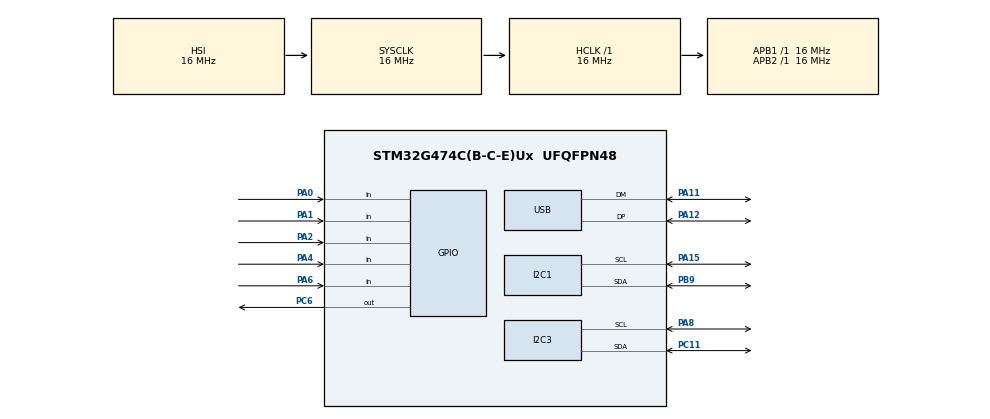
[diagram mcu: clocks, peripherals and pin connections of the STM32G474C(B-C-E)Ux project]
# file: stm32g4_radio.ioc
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I2C1.Timing=0x00503D58
I2C3.Timing=0x00503D58
Mcu.Family=STM32G4
Mcu.Name=STM32G474C(B-C-E)Ux
Mcu.Package=UFQFPN48
NVIC.I2C1_ER_IRQn=true\:0\:0\:false\:false\:true\:true\:true\:true
NVIC.I2C1_EV_IRQn=true\:0\:0\:false\:false\:true\:true\:true\:true
NVIC.I2C3_ER_IRQn=true\:0\:0\:false\:false\:true\:true\:true\:true
NVIC.I2C3_EV_IRQn=true\:0\:0\:false\:false\:true\:true\:true\:true
NVIC.PriorityGroup=NVIC_PRIORITYGROUP_4
NVIC.USB_LP_IRQn=true\:0\:0\:false\:false\:true\:false\:true\:true
PA0.GPIO_PuPd=GPIO_PULLUP
PA0.Signal=GPIO_Input
PA1.GPIO_PuPd=GPIO_PULLUP
PA1.Signal=GPIO_Input
PA11.Mode=Device
PA11.Signal=USB_DM
PA12.Mode=Device
PA12.Signal=USB_DP
PA15.GPIO_Pu=GPIO_PULLUP
PA15.GPIO_Speed=GPIO_SPEED_FREQ_VERY_HIGH
PA15.Mode=I2C
PA15.Signal=I2C1_SCL
PA2.GPIO_PuPd=GPIO_PULLUP
PA2.Signal=GPIO_Input
PA4.GPIO_PuPd=GPIO_PULLUP
PA4.Signal=GPIO_Input
PA6.GPIO_PuPd=GPIO_PULLUP
PA6.Signal=GPIO_Input
PA8.GPIO_Pu=GPIO_PULLUP
PA8.GPIO_Speed=GPIO_SPEED_FREQ_VERY_HIGH
PA8.Mode=I2C
PA8.Signal=I2C3_SCL
PB9.GPIO_Pu=GPIO_PULLUP
PB9.GPIO_Speed=GPIO_SPEED_FREQ_VERY_HIGH
PB9.Mode=I2C
PB9.Signal=I2C1_SDA
PC11.GPIO_Pu=GPIO_PULLUP
PC11.GPIO_Speed=GPIO_SPEED_FREQ_VERY_HIGH
PC11.Mode=I2C
PC11.Signal=I2C3_SDA
PC6.Signal=GPIO_Output
ProjectManager.HeapSize=0x200
ProjectManager.StackSize=0x400
ProjectManager.TargetToolchain=CMake
RCC.AHBFreq_Value=16000000
RCC.APB1Freq_Value=16000000
RCC.APB1TimFreq_Value=16000000
RCC.APB2Freq_Value=16000000
RCC.APB2TimFreq_Value=16000000
RCC.CortexFreq_Value=16000000
RCC.EXTERNAL_CLOCK_VALUE=12288000
RCC.HCLKFreq_Value=16000000
RCC.HSE_VALUE=8000000
RCC.HSI48_VALUE=48000000
RCC.HSI_VALUE=16000000
RCC.LSE_VALUE=32768
RCC.PLLN=12
RCC.PLLQ=RCC_PLLQ_DIV4
RCC.SYSCLKFreq_VALUE=16000000
RCC.USBFreq_Value=48000000
RCC.VCOOutputFreq_Value=192000000
USB_DEVICE.CLASS_NAME_FS=CDC
USB_DEVICE.VirtualMode=Cdc
USB_DEVICE.VirtualModeFS=Cdc_FS
VP_SYS_VS_DBSignals.Mode=DisableDeadBatterySignals
VP_USB_DEVICE_VS_USB_DEVICE_CDC_FS.Mode=CDC_FS
board=custom

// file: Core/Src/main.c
/* USER CODE BEGIN Header */
/**
  ******************************************************************************
  * @file           : main.c
  * @brief          : Main program body
  ******************************************************************************
  * @attention
  *
  * Copyright (c) 2026 STMicroelectronics.
  * All rights reserved.
  *
  * This software is licensed under terms that can be found in the LICENSE file
  * in the root directory of this software component.
  * If no LICENSE file comes with this software, it is provided AS-IS.
  *
  ******************************************************************************
  */
/* USER CODE END Header */
#include "main.h"
#include "stm32g474xx.h"
#include "stm32g4xx_hal.h"
#include "usb_device.h"
#include "usbd_cdc_if.h"
#include <math.h>
#include <stdint.h>
#include <stdlib.h>
#include <sys/_intsup.h>
#include "tm1650_display.h"
#include "flash_ops.h"
#include "rda5807.h"

/* USER CODE BEGIN PD */
#define BTN1 !HAL_GPIO_ReadPin(GPIOA, GPIO_PIN_0)
#define BTN2 !HAL_GPIO_ReadPin(GPIOA, GPIO_PIN_2)
#define BTN3 !HAL_GPIO_ReadPin(GPIOA, GPIO_PIN_4)
#define BTN4 !HAL_GPIO_ReadPin(GPIOA, GPIO_PIN_6)
#define BTN5 !HAL_GPIO_ReadPin(GPIOA, GPIO_PIN_1)
#define DATA_ADDRESS 0x0807F800

/* USER CODE END PD */

I2C_HandleTypeDef hi2c1;
I2C_HandleTypeDef hi2c3;

void SystemClock_Config(void);
static void MX_GPIO_Init(void);
static void MX_I2C1_Init(void);
static void MX_I2C3_Init(void);

int main(void)
{

  /* MCU Configuration--------------------------------------------------------*/

  /* Reset of all peripherals, Initializes the Flash interface and the Systick. */
  HAL_Init();

  /* USER CODE BEGIN Init */
  HAL_Delay(500);  // Without this MCU does not restart after power cycle.
  /* USER CODE END Init */

  /* Configure the system clock */
  SystemClock_Config();

  /* Initialize all configured peripherals */
  MX_GPIO_Init();
  MX_I2C1_Init();
  MX_I2C3_Init();
  MX_USB_Device_Init();

  /* Infinite loop */
  /* USER CODE BEGIN WHILE */

  display_i2s_cfg(&hi2c1);
  set_display(1, 1);
  display_clear_all();
  float_t frequency = 80.0;
  uint8_t btn_press_counter=0;
  uint8_t seek_speed = 100;

  frequency = Get_stored_float(DATA_ADDRESS);
  display_number(frequency);

  while (1)
  {

    if(BTN1) {

      if (btn_press_counter++ ==5) {
        Flash_Write_Data(DATA_ADDRESS, (uint64_t*)&frequency);
        uint8_t brignhtness = 1;
        for (uint8_t i=0;i<4;i++){
          brignhtness = !brignhtness;
          set_display(brignhtness, 1);
          HAL_Delay(200);
        }
        //set_display(1, 1);
      }

      HAL_Delay(300);
    }

    else if (BTN3) {
      if (frequency<108.0) {
        frequency+=0.1;
        display_number(frequency);
      }
      if (btn_press_counter++ >5) seek_speed = 25;
      else seek_speed=100;
      HAL_Delay(seek_speed);

    }
    else if (BTN2) {
      if (frequency>80.0) {
        frequency-=0.1;
        display_number(frequency);
      }
      if (btn_press_counter++ >5) seek_speed = 25;
      else  seek_speed=100;
      HAL_Delay(seek_speed);
    }
    else btn_press_counter=0;

    /* USER CODE END WHILE */

  }
}

void SystemClock_Config(void)
{
  RCC_OscInitTypeDef RCC_OscInitStruct = {0};
  RCC_ClkInitTypeDef RCC_ClkInitStruct = {0};

  /** Configure the main internal regulator output voltage
  */
  HAL_PWREx_ControlVoltageScaling(PWR_REGULATOR_VOLTAGE_SCALE1);

  /** Initializes the RCC Oscillators according to the specified parameters
  * in the RCC_OscInitTypeDef structure.
  */
  RCC_OscInitStruct.OscillatorType = RCC_OSCILLATORTYPE_HSI;
  RCC_OscInitStruct.HSIState = RCC_HSI_ON;
  RCC_OscInitStruct.HSICalibrationValue = RCC_HSICALIBRATION_DEFAULT;
  RCC_OscInitStruct.PLL.PLLState = RCC_PLL_ON;
  RCC_OscInitStruct.PLL.PLLSource = RCC_PLLSOURCE_HSI;
  RCC_OscInitStruct.PLL.PLLM = RCC_PLLM_DIV1;
  RCC_OscInitStruct.PLL.PLLN = 12;
  RCC_OscInitStruct.PLL.PLLP = RCC_PLLP_DIV2;
  RCC_OscInitStruct.PLL.PLLQ = RCC_PLLQ_DIV4;
  RCC_OscInitStruct.PLL.PLLR = RCC_PLLR_DIV2;
  if (HAL_RCC_OscConfig(&RCC_OscInitStruct) != HAL_OK)
  {
    Error_Handler();
  }

  /** Initializes the CPU, AHB and APB buses clocks
  */
  RCC_ClkInitStruct.ClockType = RCC_CLOCKTYPE_HCLK|RCC_CLOCKTYPE_SYSCLK
                              |RCC_CLOCKTYPE_PCLK1|RCC_CLOCKTYPE_PCLK2;
  RCC_ClkInitStruct.SYSCLKSource = RCC_SYSCLKSOURCE_HSI;
  RCC_ClkInitStruct.AHBCLKDivider = RCC_SYSCLK_DIV1;
  RCC_ClkInitStruct.APB1CLKDivider = RCC_HCLK_DIV1;
  RCC_ClkInitStruct.APB2CLKDivider = RCC_HCLK_DIV1;

  if (HAL_RCC_ClockConfig(&RCC_ClkInitStruct, FLASH_LATENCY_0) != HAL_OK)
  {
    Error_Handler();
  }
}

static void MX_I2C1_Init(void)
{

  hi2c1.Instance = I2C1;
  hi2c1.Init.Timing = 0x00503D58;
  hi2c1.Init.OwnAddress1 = 0;
  hi2c1.Init.AddressingMode = I2C_ADDRESSINGMODE_7BIT;
  hi2c1.Init.DualAddressMode = I2C_DUALADDRESS_DISABLE;
  hi2c1.Init.OwnAddress2 = 0;
  hi2c1.Init.OwnAddress2Masks = I2C_OA2_NOMASK;
  hi2c1.Init.GeneralCallMode = I2C_GENERALCALL_DISABLE;
  hi2c1.Init.NoStretchMode = I2C_NOSTRETCH_DISABLE;
  if (HAL_I2C_Init(&hi2c1) != HAL_OK)
  {
    Error_Handler();
  }

  /** Configure Analogue filter
  */
  if (HAL_I2CEx_ConfigAnalogFilter(&hi2c1, I2C_ANALOGFILTER_ENABLE) != HAL_OK)
  {
    Error_Handler();
  }

  /** Configure Digital filter
  */
  if (HAL_I2CEx_ConfigDigitalFilter(&hi2c1, 0) != HAL_OK)
  {
    Error_Handler();
  }

}

static void MX_I2C3_Init(void)
{

  hi2c3.Instance = I2C3;
  hi2c3.Init.Timing = 0x00503D58;
  hi2c3.Init.OwnAddress1 = 0;
  hi2c3.Init.AddressingMode = I2C_ADDRESSINGMODE_7BIT;
  hi2c3.Init.DualAddressMode = I2C_DUALADDRESS_DISABLE;
  hi2c3.Init.OwnAddress2 = 0;
  hi2c3.Init.OwnAddress2Masks = I2C_OA2_NOMASK;
  hi2c3.Init.GeneralCallMode = I2C_GENERALCALL_DISABLE;
  hi2c3.Init.NoStretchMode = I2C_NOSTRETCH_DISABLE;
  if (HAL_I2C_Init(&hi2c3) != HAL_OK)
  {
    Error_Handler();
  }

  /** Configure Analogue filter
  */
  if (HAL_I2CEx_ConfigAnalogFilter(&hi2c3, I2C_ANALOGFILTER_ENABLE) != HAL_OK)
  {
    Error_Handler();
  }

  /** Configure Digital filter
  */
  if (HAL_I2CEx_ConfigDigitalFilter(&hi2c3, 0) != HAL_OK)
  {
    Error_Handler();
  }

}

static void MX_GPIO_Init(void)
{
  GPIO_InitTypeDef GPIO_InitStruct = {0};

  /* GPIO Ports Clock Enable */
  __HAL_RCC_GPIOA_CLK_ENABLE();
  __HAL_RCC_GPIOC_CLK_ENABLE();
  __HAL_RCC_GPIOB_CLK_ENABLE();

  /*Configure GPIO pin Output Level */
  HAL_GPIO_WritePin(GPIOC, GPIO_PIN_6, GPIO_PIN_RESET);

  /*Configure GPIO pins : PA0 PA1 PA2 PA4
                           PA6 */
  GPIO_InitStruct.Pin = GPIO_PIN_0|GPIO_PIN_1|GPIO_PIN_2|GPIO_PIN_4
                          |GPIO_PIN_6;
  GPIO_InitStruct.Mode = GPIO_MODE_INPUT;
  GPIO_InitStruct.Pull = GPIO_PULLUP;
  HAL_GPIO_Init(GPIOA, &GPIO_InitStruct);

  /*Configure GPIO pin : PC6 */
  GPIO_InitStruct.Pin = GPIO_PIN_6;
  GPIO_InitStruct.Mode = GPIO_MODE_OUTPUT_PP;
  GPIO_InitStruct.Pull = GPIO_NOPULL;
  GPIO_InitStruct.Speed = GPIO_SPEED_FREQ_LOW;
  HAL_GPIO_Init(GPIOC, &GPIO_InitStruct);

}

void Error_Handler(void)
{
  __disable_irq();
  while (1)
  {
  }
}
